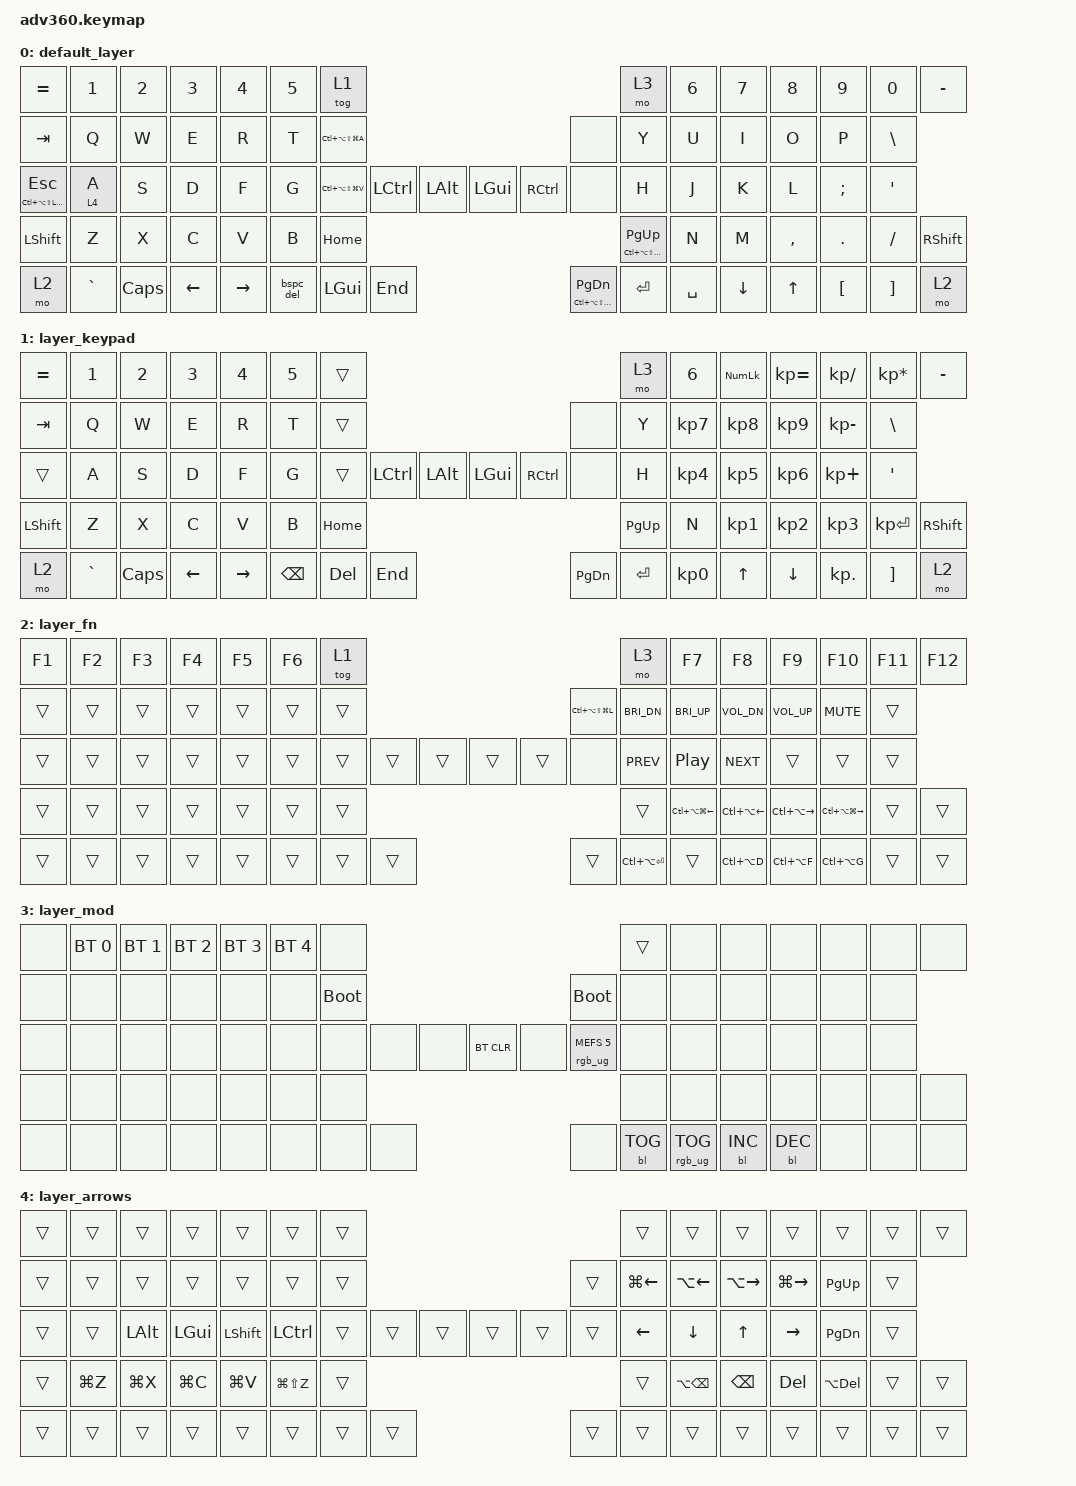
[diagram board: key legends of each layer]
/*
 * Copyright (c) 2020 The ZMK Contributors
 *
 * SPDX-License-Identifier: MIT
 */
/* THIS FILE WAS GENERATED!
 *
 * This file was generated automatically. You may or may not want to
 * edit it directly.
 */

#include <behaviors.dtsi>
#include <dt-bindings/zmk/backlight.h>
#include <dt-bindings/zmk/bt.h>
#include <dt-bindings/zmk/keys.h>
#include <dt-bindings/zmk/rgb.h>

/ {
    behaviors {
        #include "macros.dtsi"

        hm: homerow_mods {
            compatible = "zmk,behavior-hold-tap";
            label = "HOMEROW_MODS";
            #binding-cells = <2>;
            tapping-term-ms = <200>;
            quick_tap_ms = <175>;
            flavor = "tap-preferred";
            bindings = <&kp>, <&kp>;
        };

        hyper_esc: hyper_escape {
            compatible = "zmk,behavior-hold-tap";
            label = "HYPER_ESCAPE";
            #binding-cells = <2>;
            tapping-term-ms = <200>;
            flavor = "balanced";
            bindings = <&kp>, <&kp>;
        };

        bspc_del: backspace_delete {
            compatible = "zmk,behavior-mod-morph";
            label = "BACKSPACE_DELETE";
            #binding-cells = <0>;
            bindings = <&kp BSPC>, <&kp DEL>;
            mods = <(MOD_LSFT|MOD_RSFT)>;
        };
    };

    keymap {
        compatible = "zmk,keymap";

        default_layer {
            bindings = <
&kp EQUAL  &kp N1     &kp N2    &kp N3    &kp N4     &kp N5  &tog 1                                                           &mo 3      &kp N6  &kp N7    &kp N8     &kp N9    &kp N0    &kp MINUS
&kp TAB    &kp Q      &kp W     &kp E     &kp R      &kp T   &kp LC(LA(LS(LG(A))))                                            &none      &kp Y   &kp U     &kp I      &kp O     &kp P     &kp BSLH
&hyper_esc LC(LA(LS(LGUI))) ESC   &lt 4 A    &kp S    &kp D     &kp F      &kp G   &kp LC(LA(LS(LG(V))))     &kp LCTRL  &kp LALT      &kp LGUI           &kp RCTRL  &none      &kp H   &kp J     &kp K      &kp L     &kp SEMI  &kp SQT
&kp LSHFT  &kp Z      &kp X     &kp C     &kp V      &kp B                        &kp HOME      &mt LC(LA(LS(LG(PG_UP)))) PG_UP                       &kp N   &kp M     &kp COMMA  &kp DOT   &kp FSLH  &kp RSHFT
&mo 2      &kp GRAVE  &kp CAPS  &kp LEFT  &kp RIGHT          &bspc_del &kp LGUI   &kp END      &mt LC(LA(LS(LG(PG_DN)))) PAGE_DOWN &kp ENTER  &kp SPACE          &kp DOWN  &kp UP     &kp LBKT  &kp RBKT  &mo 2
            >;
        };

        layer_keypad {
            bindings = <
&kp EQUAL  &kp N1     &kp N2    &kp N3    &kp N4     &kp N5  &trans                                                   &mo 3      &kp N6  &kp KP_NUM  &kp KP_EQUAL  &kp KP_DIVIDE  &kp KP_MULTIPLY  &kp MINUS
&kp TAB    &kp Q      &kp W     &kp E     &kp R      &kp T   &trans                                                   &none      &kp Y   &kp KP_N7   &kp KP_N8     &kp KP_N9      &kp KP_MINUS     &kp BSLH
&trans     &kp A      &kp S    &kp D     &kp F      &kp G   &trans    &kp LCTRL  &kp LALT      &kp LGUI   &kp RCTRL  &none      &kp H   &kp KP_N4   &kp KP_N5     &kp KP_N6      &kp KP_PLUS      &kp SQT
&kp LSHFT  &kp Z      &kp X     &kp C     &kp V      &kp B                        &kp HOME      &kp PG_UP                        &kp N   &kp KP_N1   &kp KP_N2     &kp KP_N3      &kp KP_ENTER     &kp RSHFT
&mo 2      &kp GRAVE  &kp CAPS  &kp LEFT  &kp RIGHT          &kp BSPC  &kp DEL    &kp END       &kp PG_DN  &kp ENTER  &kp KP_N0          &kp UP      &kp DOWN      &kp KP_DOT     &kp RBKT         &mo 2
            >;
        };

        layer_fn {
            bindings = <
&kp F1  &kp F2  &kp F3  &kp F4  &kp F5  &kp F6  &tog 1                                                 &mo 3   &kp F7                &kp F8            &kp F9             &kp F10                &kp F11  &kp F12
&trans  &trans  &trans  &trans  &trans  &trans  &trans                                                 &kp LC(LA(LS(LG(L))))  &kp C_BRI_DN  &kp C_BRI_UP  &kp C_VOL_DN  &kp C_VOL_UP  &kp C_MUTE  &trans
&trans  &trans  &trans  &trans  &trans  &trans  &trans  &trans  &trans      &trans  &trans             &none                  &kp C_PREV    &kp C_PP      &kp C_NEXT    &trans        &trans      &trans
&trans  &trans  &trans  &trans  &trans  &trans                  &trans      &trans                             &kp LC(LA(LG(LEFT)))  &kp LC(LA(LEFT))  &kp LC(LA(RIGHT))  &kp LC(LA(LG(RIGHT)))  &trans   &trans
&trans  &trans  &trans  &trans  &trans          &trans  &trans  &trans      &trans  &kp LC(LA(ENTER))  &trans                        &kp LC(LA(D))     &kp LC(LA(F))      &kp LC(LA(G))          &trans   &trans
            >;
        };

        layer_mod {
            bindings = <
&none  &bt BT_SEL 0  &bt BT_SEL 1  &bt BT_SEL 2  &bt BT_SEL 3  &bt BT_SEL 4  &none                                                  &trans                  &none  &none       &none       &none  &none  &none
&none  &none         &none         &none         &none         &none         &bootloader                                            &bootloader             &none  &none       &none       &none  &none  &none
&none  &none         &none         &none         &none         &none         &none        &none  &none      &bt BT_CLR  &none       &rgb_ug RGB_MEFS_CMD 5  &none  &none       &none       &none  &none  &none
&none  &none         &none         &none         &none         &none                             &none      &none                                           &none  &none       &none       &none  &none  &none
&none  &none         &none         &none         &none                       &none        &none  &none      &none       &bl BL_TOG  &rgb_ug RGB_TOG                &bl BL_INC  &bl BL_DEC  &none  &none  &none
            >;
        };

        layer_arrows {
            bindings = <
&trans  &trans      &trans      &trans      &trans      &trans          &trans                                      &trans  &trans         &trans         &trans          &trans          &trans      &trans
&trans  &trans      &trans      &trans      &trans      &trans          &trans                                      &trans  &kp LG(LEFT)   &kp LA(LEFT)   &kp LA(RIGHT)   &kp LG(RIGHT)   &kp PG_UP   &trans
&trans  &trans      &kp LALT    &kp LGUI    &kp LSHFT   &kp LCTRL       &trans  &trans  &trans      &trans  &trans  &trans  &kp LEFT       &kp DOWN       &kp UP          &kp RIGHT       &kp PG_DN   &trans
&trans  &kp LG(Z)   &kp LG(X)   &kp LG(C)   &kp LG(V)   &kp LG(LS(Z))                   &trans      &trans                  &kp LA(BSPC)   &kp BSPC       &kp DEL         &kp LA(DEL)     &trans      &trans
&trans  &trans  &trans  &trans  &trans          &trans  &trans  &trans      &trans  &trans  &trans            &trans    &trans  &trans     &trans  &trans
            >;
        };
    };
};
